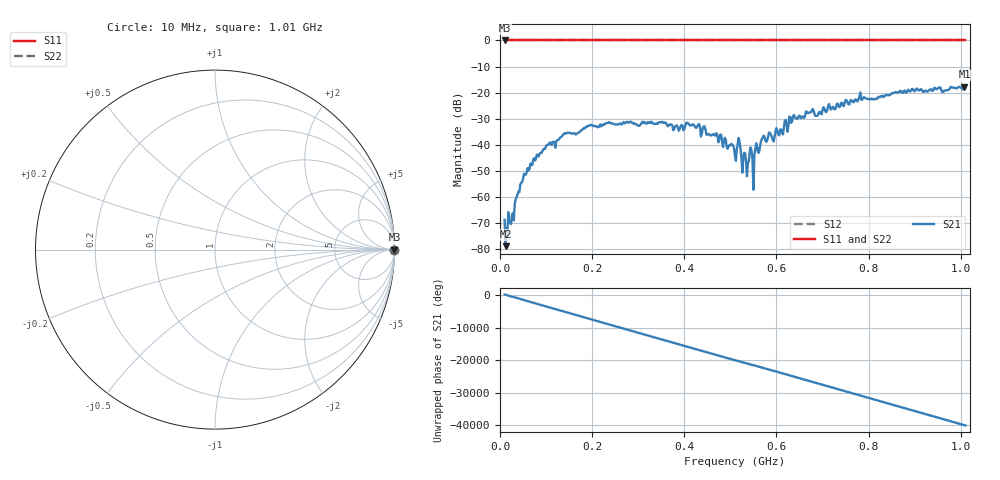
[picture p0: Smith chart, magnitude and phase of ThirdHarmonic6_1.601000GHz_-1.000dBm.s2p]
! 8/16/2025 7:05:31 PM
! C:\ANRITSUVNA\TEMP\TEMP.S2P
! CHANNEL.1
! TR.MEASUREMENT
! RAW.DATA
! RF.CORRECTION.OFF
! AVERAGING.OFF
! IF.BANDWIDTH: 5KHZ
! SWEEPTYPE:  FREQ.SWEEP(Linear)
! Reference Plane Port Info
! PORT:  PORT1  PORT2
! DISTANCE:  0  m  0  m
! TIME:  0  s  0  s
! PHASE.OFFSET:  0  deg.  0  deg.
! LOSS:  0  dB  0  dB
! REF.LOSS:  0  dB  0  dB
! REF.FREQ:  0  Hz  0  Hz
! Power Info
! POWER:  -20  dBm  -20  dBm
! EFF.POWER:  -20  dBm  -20  dBm
! SOURCE.ATTEN:  0  dB  0  dB
! TEST.ATTEN:  0  dB  0  dB
# GHZ S RI R 50.0
! FREQ.GHZ  S11RE  S11IM  S21RE  S21IM  S12RE  S12IM  S22RE  S22IM
!; PortSelection: Port_12
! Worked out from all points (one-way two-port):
!   501 points, 10 MHz to 1.01 GHz, reference 50 ohm
!   highest |S21| = -17.75 dB at 1.008 GHz (marker M1); lowest = -78.9 dB at 12 MHz (marker M2)
!   lowest |S11| = 0.0 dB at 10 MHz (marker M3)
!   |S11| at or under -10 dB: nowhere
!   |S22| runs from 0.0 to 0.0 dB; largest |S21 - S12| = 1.1
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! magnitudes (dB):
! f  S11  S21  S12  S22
! 10 MHz  0.0  -68.8  0.0  0.0
! 12 MHz  0.0  -78.9  0.0  0.0
! 26 MHz  0.0  -67.0  0.0  0.0
! 48 MHz  0.0  -54.3  0.0  0.0
! 76 MHz  0.0  -46.1  0.0  0.0
! 140 MHz  0.0  -35.6  0.0  0.0
! 178 MHz  0.0  -34.3  0.0  0.0
! 344 MHz  0.0  -31.4  0.0  0.0
! 430 MHz  0.0  -32.3  0.0  0.0
! 510 MHz  0.0  -44.2  0.0  0.0
! 518 MHz  0.0  -37.4  0.0  0.0
! 526 MHz  0.0  -50.7  0.0  0.0
! 538 MHz  0.0  -46.8  0.0  0.0
! 544 MHz  0.0  -41.0  0.0  0.0
! 550 MHz  0.0  -57.2  0.0  0.0
! 570 MHz  0.0  -37.3  0.0  0.0
! 592 MHz  0.0  -38.2  0.0  0.0
! 632 MHz  0.0  -31.6  0.0  0.0
! 678 MHz  0.0  -26.3  0.0  0.0
! 844 MHz  0.0  -21.0  0.0  0.0
! 1.008 GHz  0.0  -17.8  0.0  0.0
! 1.01 GHz  0.0  -18.2  0.0  0.0
